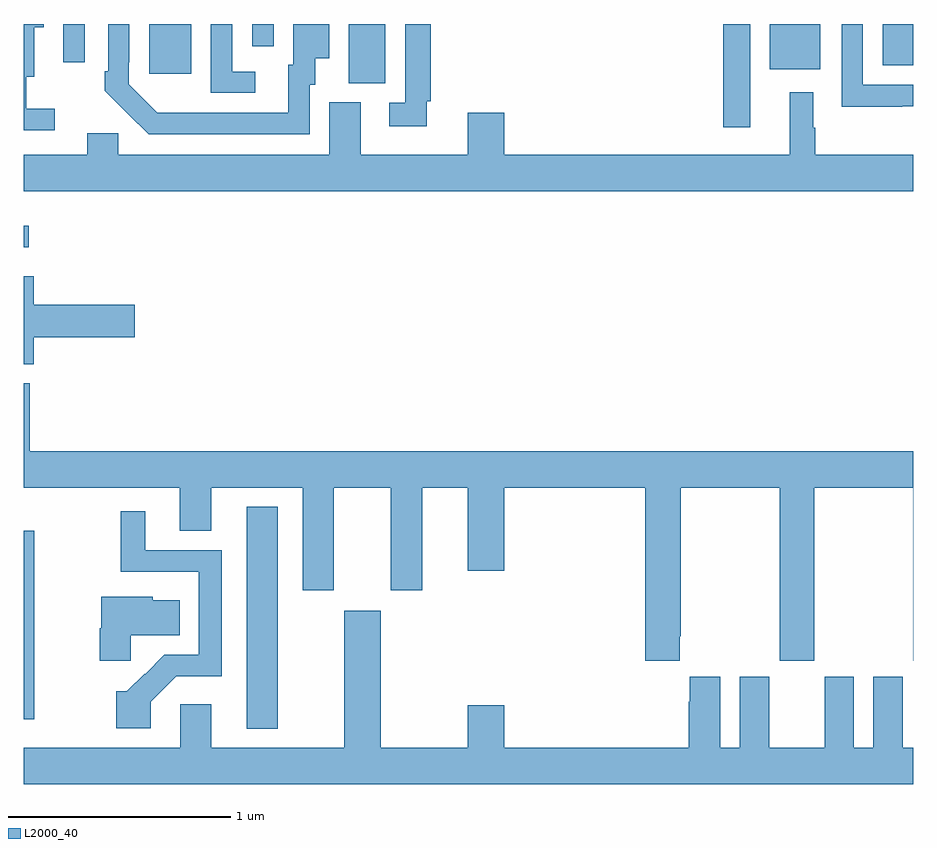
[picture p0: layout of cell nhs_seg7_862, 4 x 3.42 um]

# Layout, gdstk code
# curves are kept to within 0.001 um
import gdstk
lib = gdstk.Library(unit=1e-6, precision=1e-09)
def R(c, l, rs):  # rectangles x0, y0, x1, y1
    for r in rs: c.add(gdstk.rectangle(r[:2], r[2:], *l))
def P(c, l, *ps):  # polygons
    for p in ps: c.add(gdstk.Polygon(p, *l))
L2000_40 = (2000, 40)

nhs_seg7_862 = lib.new_cell('nhs_seg7_862')
R(nhs_seg7_862, L2000_40, [(176.003,1032.833,176.143,1033.831), (175,1032.876,175.048,1033.723), (175,1034.996,175.024,1035.094), (178.146,1035.537,178.267,1036), (176.462,1035.733,176.626,1036), (175.565,1035.777,175.753,1036), (178.355,1035.797,178.582,1036), (178.862,1035.815,179,1036), (175.179,1035.828,175.275,1036), (176.028,1035.9,176.124,1036)])
P(nhs_seg7_862, L2000_40, [(175.141,1035.619),(175.012,1035.619),(175.012,1035.764),(175.048,1035.764),(175.048,1035.986),(175.09,1035.986),(175.09,1036),(175,1036),(175,1035.522),(175.141,1035.522)],
  [(178.949,1035.63),(179,1035.63),(179,1035.726),(178.773,1035.726),(178.773,1036),(178.677,1036),(178.677,1035.629),(178.949,1035.629)],
  [(176.813,1035.652),(176.831,1035.652),(176.831,1036),(176.715,1036),(176.715,1035.645),(176.643,1035.645),(176.643,1035.54),(176.813,1035.54)],
  [(176.286,1035.726),(176.311,1035.726),(176.311,1035.845),(176.374,1035.845),(176.374,1036),(176.213,1036),(176.213,1035.816),(176.189,1035.816),(176.189,1035.6),(175.602,1035.601),(175.473,1035.729),(175.473,1035.829),(175.476,1035.829),(175.476,1036),(175.38,1036),(175.38,1035.787),(175.365,1035.787),(175.365,1035.699),(175.562,1035.504),(176.286,1035.504)],
  [(176.041,1035.786),(175.938,1035.786),(175.938,1036),(175.842,1036),(175.842,1035.69),(176.041,1035.69)],
  [(179,1035.412),(178.559,1035.412),(178.559,1035.533),(178.549,1035.533),(178.549,1035.694),(178.445,1035.694),(178.445,1035.412),(177.16,1035.412),(177.16,1035.601),(176.996,1035.601),(176.996,1035.412),(176.515,1035.412),(176.515,1035.648),(176.375,1035.648),(176.375,1035.412),(175.425,1035.412),(175.425,1035.51),(175.286,1035.51),(175.286,1035.412),(175,1035.412),(175,1035.248),(179,1035.248)],
  [(175.046,1034.591),(175.501,1034.591),(175.501,1034.738),(175.046,1034.738),(175.046,1034.866),(175,1034.866),(175,1034.47),(175.046,1034.47)],
  [(175.028,1034.385),(175,1034.385),(175,1033.916),(175.703,1033.916),(175.703,1033.722),(175.843,1033.722),(175.843,1033.916),(176.255,1033.916),(176.255,1033.455),(176.395,1033.455),(176.395,1033.916),(176.651,1033.916),(176.651,1033.455),(176.791,1033.455),(176.791,1033.916),(176.996,1033.916),(176.996,1033.542),(177.16,1033.542),(177.16,1033.916),(177.794,1033.916),(177.794,1033.137),(177.949,1033.137),(177.949,1033.249),(177.954,1033.249),(177.954,1033.916),(178.399,1033.916),(178.399,1033.137),(178.554,1033.137),(178.554,1033.916),(178.999,1033.916),(178.999,1033.137),(179,1033.137),(179,1034.08),(175.028,1034.08)],
  [(175.572,1032.954),(175.686,1033.068),(175.891,1033.068),(175.891,1033.635),(175.546,1033.635),(175.546,1033.81),(175.437,1033.81),(175.437,1033.539),(175.787,1033.539),(175.787,1033.165),(175.633,1033.165),(175.547,1033.078),(175.545,1033.08),(175.465,1033),(175.417,1033),(175.417,1032.834),(175.572,1032.834)],
  [(175.481,1033.253),(175.702,1033.253),(175.702,1033.411),(175.581,1033.411),(175.581,1033.426),(175.349,1033.426),(175.349,1033.284),(175.342,1033.284),(175.342,1033.137),(175.481,1033.137)],
  [(179,1032.748),(178.951,1032.748),(178.951,1033.066),(178.82,1033.066),(178.82,1032.748),(178.732,1032.748),(178.732,1033.066),(178.601,1033.066),(178.601,1032.748),(178.351,1032.748),(178.351,1033.066),(178.22,1033.066),(178.22,1032.748),(178.132,1032.748),(178.132,1033.066),(177.995,1033.066),(177.995,1032.953),(177.989,1032.953),(177.989,1032.748),(177.16,1032.748),(177.16,1032.937),(176.996,1032.937),(176.996,1032.748),(176.605,1032.748),(176.605,1033.363),(176.441,1033.363),(176.441,1032.748),(175.843,1032.748),(175.843,1032.943),(175.704,1032.943),(175.704,1032.748),(175,1032.748),(175,1032.584),(179,1032.584)])

lib.write_gds('nhs_seg7_862.gds')
